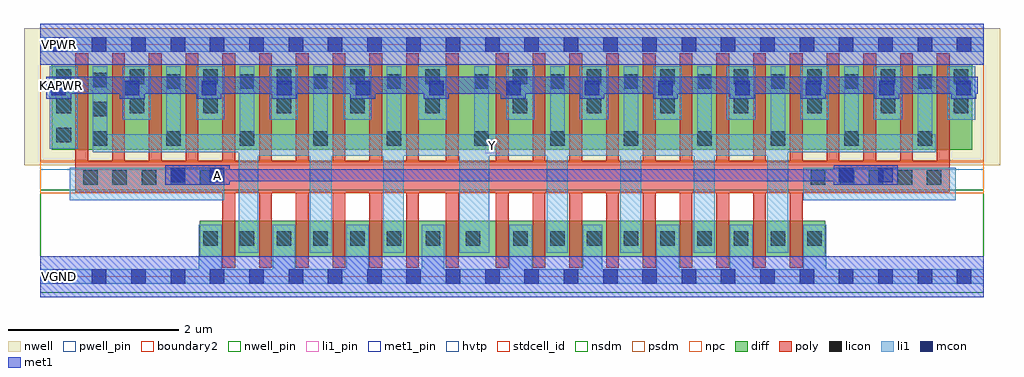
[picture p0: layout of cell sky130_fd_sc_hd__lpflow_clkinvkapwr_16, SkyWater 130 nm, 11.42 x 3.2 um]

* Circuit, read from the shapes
.subckt sky130_fd_sc_hd__lpflow_clkinvkapwr_16 A KAPWR VGND VNB VPB VPWR Y
XM1 Y A VGND VNB sky130_fd_pr__nfet_01v8 w=0.42 l=0.15 m=16
XM2 Y A KAPWR VPB sky130_fd_pr__pfet_01v8_hvt w=1 l=0.15 m=24
.ends

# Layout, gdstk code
import gdstk
lib = gdstk.Library(unit=1e-6, precision=1e-09)
def R(c, l, rs):  # rectangles x0, y0, x1, y1
    for r in rs: c.add(gdstk.rectangle(r[:2], r[2:], *l))
def A(c, l, x, y, w, h, nx, ny, dx, dy):  # array of equal rectangles
    R(c, l, [(x+i*dx, y+j*dy, x+i*dx+w, y+j*dy+h) for i in range(nx) for j in range(ny)])
def P(c, l, *ps):  # polygons
    for p in ps: c.add(gdstk.Polygon(p, *l))
nwell_pin = (64, 16)
nwell = (64, 20)
diff = (65, 20)
poly = (66, 20)
licon = (66, 44)
li1_pin = (67, 16)
li1 = (67, 20)
mcon = (67, 44)
met1_pin = (68, 16)
met1 = (68, 20)
hvtp = (78, 44)
stdcell_id = (81, 4)
nsdm = (93, 44)
psdm = (94, 20)
npc = (95, 20)
pwell_pin = (122, 16)
boundary2 = (236, 0)

sky130_fd_sc_hd__lpflow_ = lib.new_cell('sky130_fd_sc_hd__lpflow_clkinvkapwr_16')
R(sky130_fd_sc_hd__lpflow_, nwell_pin, [(0.145,2.635,0.315,2.805)])
R(sky130_fd_sc_hd__lpflow_, nwell, [(-0.19,1.305,11.23,2.91)])
R(sky130_fd_sc_hd__lpflow_, diff, [(1.865,0.235,9.185,0.655), (0.135,1.485,10.905,2.485)])
P(sky130_fd_sc_hd__lpflow_, poly, [(10.64,2.615),(10.49,2.615),(10.49,1.35),(10.21,1.35),(10.21,2.615),(10.06,2.615),(10.06,1.35),(9.78,1.35),(9.78,2.615),(9.63,2.615),(9.63,1.35),(9.35,1.35),(9.35,2.615),(9.2,2.615),(9.2,1.35),(8.92,1.35),(8.92,2.615),(8.77,2.615),(8.77,1.35),(8.49,1.35),(8.49,2.615),(8.34,2.615),(8.34,1.35),(8.06,1.35),(8.06,2.615),(7.91,2.615),(7.91,1.35),(7.63,1.35),(7.63,2.615),(7.48,2.615),(7.48,1.35),(7.2,1.35),(7.2,2.615),(7.05,2.615),(7.05,1.35),(6.77,1.35),(6.77,2.615),(6.62,2.615),(6.62,1.35),(6.34,1.35),(6.34,2.615),(6.19,2.615),(6.19,1.35),(5.91,1.35),(5.91,2.615),(5.76,2.615),(5.76,1.35),(5.48,1.35),(5.48,2.615),(5.33,2.615),(5.33,1.35),(4.895,1.35),(4.895,2.615),(4.745,2.615),(4.745,1.35),(4.43,1.35),(4.43,2.615),(4.28,2.615),(4.28,1.35),(4,1.35),(4,2.615),(3.85,2.615),(3.85,1.35),(3.57,1.35),(3.57,2.615),(3.42,2.615),(3.42,1.35),(3.14,1.35),(3.14,2.615),(2.99,2.615),(2.99,1.35),(2.71,1.35),(2.71,2.615),(2.56,2.615),(2.56,1.35),(2.28,1.35),(2.28,2.615),(2.13,2.615),(2.13,1.35),(1.85,1.35),(1.85,2.615),(1.7,2.615),(1.7,1.35),(1.42,1.35),(1.42,2.615),(1.27,2.615),(1.27,1.35),(0.99,1.35),(0.99,2.615),(0.84,2.615),(0.84,1.35),(0.56,1.35),(0.56,2.615),(0.41,2.615),(0.41,0.99),(2.13,0.99),(2.13,0.105),(2.28,0.105),(2.28,0.99),(2.56,0.99),(2.56,0.105),(2.71,0.105),(2.71,0.99),(2.99,0.99),(2.99,0.105),(3.14,0.105),(3.14,0.99),(3.42,0.99),(3.42,0.105),(3.57,0.105),(3.57,0.99),(3.85,0.99),(3.85,0.105),(4,0.105),(4,0.99),(4.28,0.99),(4.28,0.105),(4.43,0.105),(4.43,0.99),(4.745,0.99),(4.745,0.105),(4.895,0.105),(4.895,0.99),(5.33,0.99),(5.33,0.105),(5.48,0.105),(5.48,0.99),(5.76,0.99),(5.76,0.105),(5.91,0.105),(5.91,0.99),(6.19,0.99),(6.19,0.105),(6.34,0.105),(6.34,0.99),(6.62,0.99),(6.62,0.105),(6.77,0.105),(6.77,0.99),(7.05,0.99),(7.05,0.105),(7.2,0.105),(7.2,0.99),(7.48,0.99),(7.48,0.105),(7.63,0.105),(7.63,0.99),(7.91,0.99),(7.91,0.105),(8.06,0.105),(8.06,0.99),(8.34,0.99),(8.34,0.105),(8.49,0.105),(8.49,0.99),(8.77,0.99),(8.77,0.105),(8.92,0.105),(8.92,0.99),(10.64,0.99)])
A(sky130_fd_sc_hd__lpflow_, licon, 1.905, 0.36, 0.17, 0.17, 6, 1, 0.43, 0)
A(sky130_fd_sc_hd__lpflow_, licon, 5.535, 0.36, 0.17, 0.17, 9, 1, 0.43, 0)
A(sky130_fd_sc_hd__lpflow_, licon, 0.505, 1.075, 0.17, 0.17, 5, 1, 0.34, 0)
A(sky130_fd_sc_hd__lpflow_, licon, 9.015, 1.075, 0.17, 0.17, 5, 1, 0.34, 0)
A(sky130_fd_sc_hd__lpflow_, licon, 0.615, 1.535, 0.17, 0.17, 5, 1, 0.86, 0)
A(sky130_fd_sc_hd__lpflow_, licon, 5.965, 1.535, 0.17, 0.17, 6, 2, 0.86, 0.665)
A(sky130_fd_sc_hd__lpflow_, licon, 0.19, 1.575, 0.17, 0.17, 1, 3, 0, 0.34)
A(sky130_fd_sc_hd__lpflow_, licon, 1.045, 1.915, 0.17, 0.17, 4, 2, 0.86, 0.34)
A(sky130_fd_sc_hd__lpflow_, licon, 6.395, 1.915, 0.17, 0.17, 5, 2, 0.86, 0.34)
A(sky130_fd_sc_hd__lpflow_, licon, 1.475, 2.2, 0.17, 0.17, 4, 1, 0.86, 0)
R(sky130_fd_sc_hd__lpflow_, licon, [(4.51,0.36,4.68,0.53), (4.98,0.36,5.15,0.53), (5.08,1.535,5.25,1.705), (0.615,1.875,0.785,2.045), (4.505,1.915,4.675,2.085), (5.53,1.915,5.7,2.085), (10.69,1.915,10.86,2.085), (5.08,2.2,5.25,2.37), (0.615,2.215,0.785,2.385), (4.505,2.255,4.675,2.425), (5.53,2.255,5.7,2.425), (10.69,2.255,10.86,2.425)])
R(sky130_fd_sc_hd__lpflow_, li1_pin, [(1.985,1.105,2.155,1.275), (5.205,1.445,5.375,1.615)])
A(sky130_fd_sc_hd__lpflow_, li1, 0.615, 1.65, 0.17, 0.815, 5, 1, 0.86, 0)
A(sky130_fd_sc_hd__lpflow_, li1, 5.965, 1.65, 0.17, 0.815, 6, 1, 0.86, 0)
A(sky130_fd_sc_hd__lpflow_, li1, 0.965, 1.835, 0.33, 0.63, 4, 1, 0.86, 0)
A(sky130_fd_sc_hd__lpflow_, li1, 6.315, 1.835, 0.33, 0.63, 5, 1, 0.86, 0)
R(sky130_fd_sc_hd__lpflow_, li1, [(0.345,0.895,2.155,1.275), (8.93,0.895,10.71,1.275), (0.11,1.495,0.44,2.465), (5.08,1.65,5.25,2.465), (4.425,1.835,4.755,2.465), (5.45,1.835,5.78,2.465), (10.61,1.835,10.94,2.465), (0,2.635,11.04,2.805)])
P(sky130_fd_sc_hd__lpflow_, li1, [(10.48,1.665),(0.615,1.665),(0.615,1.455),(2.325,1.455),(2.325,0.28),(2.55,0.28),(2.55,1.415),(3.155,1.415),(3.155,0.28),(3.41,0.28),(3.41,1.415),(4.015,1.415),(4.015,0.28),(4.255,0.28),(4.255,1.415),(4.905,1.415),(4.905,0.28),(5.255,0.28),(5.255,1.415),(5.925,1.415),(5.925,0.28),(6.175,0.28),(6.175,1.415),(6.785,1.415),(6.785,0.28),(7.035,0.28),(7.035,1.415),(7.645,1.415),(7.645,0.28),(7.895,0.28),(7.895,1.415),(8.505,1.415),(8.505,0.28),(8.755,0.28),(8.755,1.455),(10.48,1.455)],
  [(11.04,0.085),(9.195,0.085),(9.195,0.61),(8.93,0.61),(8.93,0.085),(8.335,0.085),(8.335,0.61),(8.07,0.61),(8.07,0.085),(7.475,0.085),(7.475,0.61),(7.21,0.61),(7.21,0.085),(6.575,0.085),(6.575,0.61),(6.35,0.61),(6.35,0.085),(5.755,0.085),(5.755,0.61),(5.49,0.61),(5.49,0.085),(4.73,0.085),(4.73,0.61),(4.465,0.61),(4.465,0.085),(3.845,0.085),(3.845,0.61),(3.58,0.61),(3.58,0.085),(2.985,0.085),(2.985,0.61),(2.72,0.61),(2.72,0.085),(2.125,0.085),(2.125,0.61),(1.855,0.61),(1.855,0.085),(0,0.085),(0,-0.085),(11.04,-0.085)])
A(sky130_fd_sc_hd__lpflow_, mcon, 0.145, -0.085, 0.17, 0.17, 24, 2, 0.46, 2.72)
R(sky130_fd_sc_hd__lpflow_, mcon, [(1.525,1.105,1.695,1.275), (1.985,1.105,2.155,1.275), (9.345,1.105,9.515,1.275), (9.805,1.105,9.975,1.275), (0.13,2.125,0.3,2.295), (0.99,2.125,1.16,2.295), (1.89,2.125,2.06,2.295), (2.77,2.125,2.94,2.295), (3.69,2.125,3.86,2.295), (4.55,2.125,4.72,2.295), (5.45,2.125,5.62,2.295), (6.37,2.125,6.54,2.295), (7.23,2.125,7.4,2.295), (8.13,2.125,8.3,2.295), (8.96,2.125,9.13,2.295), (9.82,2.125,9.99,2.295), (10.72,2.125,10.89,2.295)])
R(sky130_fd_sc_hd__lpflow_, met1_pin, [(0.145,-0.085,0.315,0.085), (0.155,2.145,0.335,2.325), (0.145,2.635,0.315,2.805)])
P(sky130_fd_sc_hd__lpflow_, met1, [(10.035,1.305),(9.285,1.305),(9.285,1.26),(2.215,1.26),(2.215,1.305),(1.465,1.305),(1.465,1.075),(2.215,1.075),(2.215,1.12),(9.285,1.12),(9.285,1.075),(10.035,1.075)],
  [(10.97,2.34),(0.07,2.34),(0.07,2.08),(0.36,2.08),(0.36,2.14),(0.93,2.14),(0.93,2.08),(1.22,2.08),(1.22,2.14),(1.83,2.14),(1.83,2.08),(2.12,2.08),(2.12,2.14),(2.71,2.14),(2.71,2.08),(3,2.08),(3,2.14),(3.63,2.14),(3.63,2.08),(3.92,2.08),(3.92,2.14),(4.49,2.14),(4.49,2.08),(4.78,2.08),(4.78,2.14),(5.39,2.14),(5.39,2.08),(5.68,2.08),(5.68,2.14),(6.31,2.14),(6.31,2.08),(6.6,2.08),(6.6,2.14),(7.17,2.14),(7.17,2.08),(7.46,2.08),(7.46,2.14),(8.07,2.14),(8.07,2.08),(8.36,2.08),(8.36,2.14),(8.9,2.14),(8.9,2.08),(9.19,2.08),(9.19,2.14),(9.76,2.14),(9.76,2.08),(10.05,2.08),(10.05,2.14),(10.66,2.14),(10.66,2.08),(10.95,2.08),(10.95,2.14),(10.97,2.14)])
R(sky130_fd_sc_hd__lpflow_, hvtp, [(0,1.25,11.04,2.72)])
R(sky130_fd_sc_hd__lpflow_, stdcell_id, [(0,0,11.04,2.72)])
R(sky130_fd_sc_hd__lpflow_, nsdm, [(0,-0.19,11.04,1.015)])
R(sky130_fd_sc_hd__lpflow_, psdm, [(0,1.355,11.04,2.91)])
R(sky130_fd_sc_hd__lpflow_, npc, [(0,0.975,11.04,1.345)])
R(sky130_fd_sc_hd__lpflow_, pwell_pin, [(0.145,-0.085,0.315,0.085)])
R(sky130_fd_sc_hd__lpflow_, boundary2, [(0,0,11.04,2.72)])
sky130_fd_sc_hd__lpflow_.add(gdstk.FlexPath([(0,2.72),(11.04,2.72)], 0.48, ends="flush", simple_path=True, layer=68, datatype=20))  # met1
sky130_fd_sc_hd__lpflow_.add(gdstk.FlexPath([(0,0),(11.04,0)], 0.48, ends="flush", simple_path=True, layer=68, datatype=20))  # met1
sky130_fd_sc_hd__lpflow_.add(gdstk.Label('Y', (5.29,1.53), layer=67, texttype=5))
sky130_fd_sc_hd__lpflow_.add(gdstk.Label('A', (2.07,1.19), layer=67, texttype=5))
sky130_fd_sc_hd__lpflow_.add(gdstk.Label('KAPWR', (0.245,2.235), layer=68, texttype=5))
sky130_fd_sc_hd__lpflow_.add(gdstk.Label('VGND', (0.23,0), layer=68, texttype=5))
sky130_fd_sc_hd__lpflow_.add(gdstk.Label('VPWR', (0.23,2.72), layer=68, texttype=5))
sky130_fd_sc_hd__lpflow_.add(gdstk.Label('VNB', (0.23,0), layer=64, texttype=59))
sky130_fd_sc_hd__lpflow_.add(gdstk.Label('VPB', (0.23,2.72), layer=64, texttype=5))
sky130_fd_sc_hd__lpflow_.add(gdstk.Label('lpflow_clkinvkapwr_16', (0,0), layer=83, texttype=44))

lib.write_gds('sky130_fd_sc_hd__lpflow_clkinvkapwr_16.gds')
